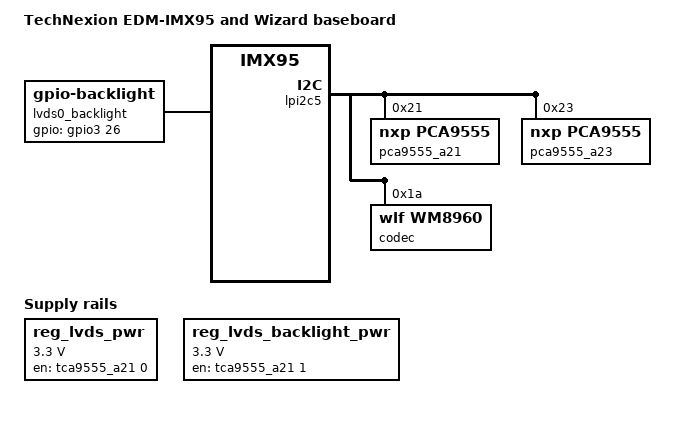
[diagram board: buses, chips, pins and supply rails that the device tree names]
// SPDX-License-Identifier: (GPL-2.0+ OR MIT)
/*
 * Copyright 2024 Technexion Ltd.
 *
 * Author: Richard Hu <richard.hu@technexion.com>
 *
 */

/dts-v1/;

#include <dt-bindings/phy/phy-imx8-pcie.h>
#include "imx95-edm.dtsi"

/ {
	model = "TechNexion EDM-IMX95 and Wizard baseboard";
	compatible = "fsl,imx95-edm", "fsl,imx95";

	reg_lvds_pwr: regulator_lvdspwr {	/* LVDS0_VDDEN */
		compatible = "regulator-fixed";
		regulator-name = "lvds0_vdden";
		regulator-min-microvolt = <3300000>;
		regulator-max-microvolt = <3300000>;
		gpio = <&tca9555_a21 0 GPIO_ACTIVE_HIGH>;
		enable-active-high;
	};

	reg_lvds_backlight_pwr: regulator_lvdsblpwr {	/* LVDS0_BL_EN */
		compatible = "regulator-fixed";
		regulator-name = "lvds0_bl_en";
		regulator-min-microvolt = <3300000>;
		regulator-max-microvolt = <3300000>;
		gpio = <&tca9555_a21 1 GPIO_ACTIVE_HIGH>;
		enable-active-high;
		regulator-always-on;
	};

	lvds0_backlight: lvds0_backlight {
		compatible = "gpio-backlight";
		pinctrl-names = "default";
		pinctrl-0 = <&pinctrl_lvds0_backlight>;
		gpios = <&gpio3 26 GPIO_ACTIVE_HIGH>;
		default-on;
		status = "okay";
	};

	sound-wm8960 {
		compatible = "fsl,imx-audio-wm8960";
		model = "wm8960-audio";
		audio-cpu = <&sai3>;
		audio-codec = <&codec>;
		codec-master;
		audio-routing =
			"Headphone Jack", "HP_L",
			"Headphone Jack", "HP_R",
			"Ext Spk", "SPK_LP",
			"Ext Spk", "SPK_LN",
			"Ext Spk", "SPK_RP",
			"Ext Spk", "SPK_RN",
			"LINPUT1", "Mic Jack",
			"RINPUT1", "Mic Jack",
			"Mic Jack", "MICB",
			"AMIC", "MICB";
	};
};

/* I2C_B on EDM */
&lpi2c5 {
	status = "okay";

	pca9555_a21: pca9555@21 {
		compatible = "nxp,pca9555";
		reg = <0x21>;
		gpio-controller;
		#gpio-cells = <2>;
		status = "okay";
		gpio-line-names = "EXPOSURE_TRIG_IN1", "FLASH_OUT1", "INFO_TRIG_IN1", "CAM_SHUTTER1", "XVS1", "PWR1_TIME0", "PWR1_TIME1", "PWR1_TIME2",
				"EXPOSURE_TRIG_IN2", "FLASH_OUT2", "INFO_TRIG_IN2", "CAM_SHUTTER2", "XVS2", "PWR2_TIME0", "PWR2_TIME1", "PWR2_TIME2";
	};

	pca9555_a23: pca9555@23 {
		compatible = "nxp,pca9555";
		reg = <0x23>;
		gpio-controller;
		#gpio-cells = <2>;
		status = "okay";
		gpio-line-names = "M2_DISABLE_N", "LED_EN", "", "", "", "", "", "USB_OTG_OC",
				"EXT_GPIO8", "EXT_GPIO9", "", "", "", "CSI1_PDB", "CSI2_PDB", "PD_FAULT";
	};

	codec: wm8960@1a {
		compatible = "wlf,wm8960";
		reg = <0x1a>;
		clocks = <&scmi_clk IMX95_CLK_SAI3>;
		//clocks = <&codec_osc>;  /* Clock is from external osc on baseboard */
		clock-names = "mclk";
		wlf,shared-lrclk;
		wlf,hp-cfg = <2 2 3>;
		wlf,fixed-mclk;
		status = "okay";
	};
};
